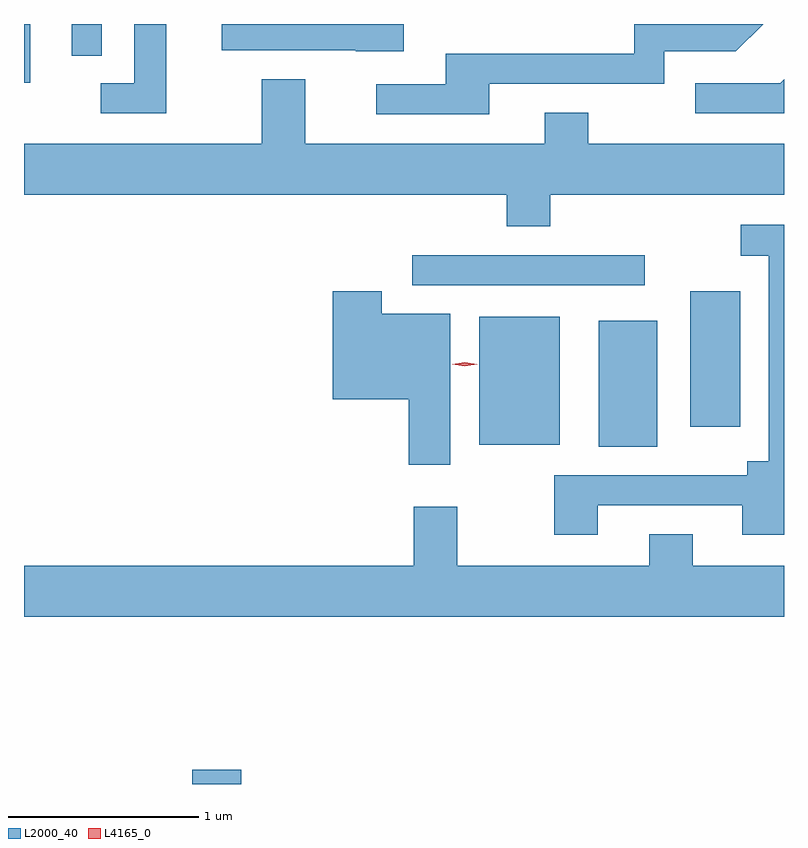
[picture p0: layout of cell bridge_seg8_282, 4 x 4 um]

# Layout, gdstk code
import gdstk
lib = gdstk.Library(unit=1e-6, precision=1e-09)
def R(c, l, rs):  # rectangles x0, y0, x1, y1
    for r in rs: c.add(gdstk.rectangle(r[:2], r[2:], *l))
def P(c, l, *ps):  # polygons
    for p in ps: c.add(gdstk.Polygon(p, *l))
L2000_40 = (2000, 40)
L4165_0 = (4165, 0)

bridge_seg8_282 = lib.new_cell('bridge_seg8_282')
R(bridge_seg8_282, L2000_40, [(1366.706,1828.875,1366.964,1828.949), (1368.846,1830.651,1369.154,1831.314), (1368.216,1830.661,1368.639,1831.334), (1369.326,1830.756,1369.589,1831.469), (1367.863,1831.501,1369.088,1831.659), (1365.82,1832.566,1365.854,1832.875), (1366.071,1832.708,1366.229,1832.875)])
P(bridge_seg8_282, L2000_40, [(1366.569,1832.875),(1366.401,1832.875),(1366.401,1832.564),(1366.223,1832.564),(1366.223,1832.406),(1366.569,1832.406)],
  [(1367.819,1832.875),(1366.861,1832.875),(1366.861,1832.736),(1367.565,1832.736),(1367.565,1832.731),(1367.819,1832.731)],
  [(1368.269,1832.561),(1369.189,1832.561),(1369.189,1832.731),(1369.567,1832.731),(1369.71,1832.875),(1369.031,1832.875),(1369.031,1832.719),(1368.041,1832.719),(1368.041,1832.559),(1367.673,1832.559),(1367.673,1832.401),(1368.269,1832.401)],
  [(1369.82,1832.585),(1369.799,1832.564),(1369.353,1832.564),(1369.353,1832.406),(1369.82,1832.406)],
  [(1368.589,1831.976),(1369.82,1831.976),(1369.82,1832.244),(1368.789,1832.244),(1368.789,1832.409),(1368.561,1832.409),(1368.561,1832.244),(1367.299,1832.244),(1367.299,1832.584),(1367.071,1832.584),(1367.071,1832.244),(1365.82,1832.244),(1365.82,1831.976),(1368.361,1831.976),(1368.361,1831.811),(1368.589,1831.811)],
  [(1368.839,1830.341),(1369.601,1830.341),(1369.601,1830.186),(1369.82,1830.186),(1369.82,1831.819),(1369.593,1831.819),(1369.593,1831.656),(1369.741,1831.656),(1369.741,1830.574),(1369.626,1830.574),(1369.626,1830.499),(1368.611,1830.499),(1368.611,1830.186),(1368.839,1830.186)],
  [(1368.064,1831.349),(1367.704,1831.349),(1367.704,1831.469),(1367.446,1831.469),(1367.446,1830.901),(1367.846,1830.901),(1367.846,1830.556),(1368.064,1830.556)],
  [(1369.82,1830.024),(1369.339,1830.024),(1369.339,1830.189),(1369.111,1830.189),(1369.111,1830.024),(1368.099,1830.024),(1368.099,1830.334),(1367.871,1830.334),(1367.871,1830.024),(1365.82,1830.024),(1365.82,1829.756),(1369.82,1829.756)])
P(bridge_seg8_282, L4165_0, [(1368.14,1831.074),(1368.074,1831.084),(1368.073,1831.084),(1368.074,1831.085),(1368.14,1831.094),(1368.206,1831.084),(1368.206,1831.084),(1368.206,1831.083)])

lib.write_gds('bridge_seg8_282.gds')
